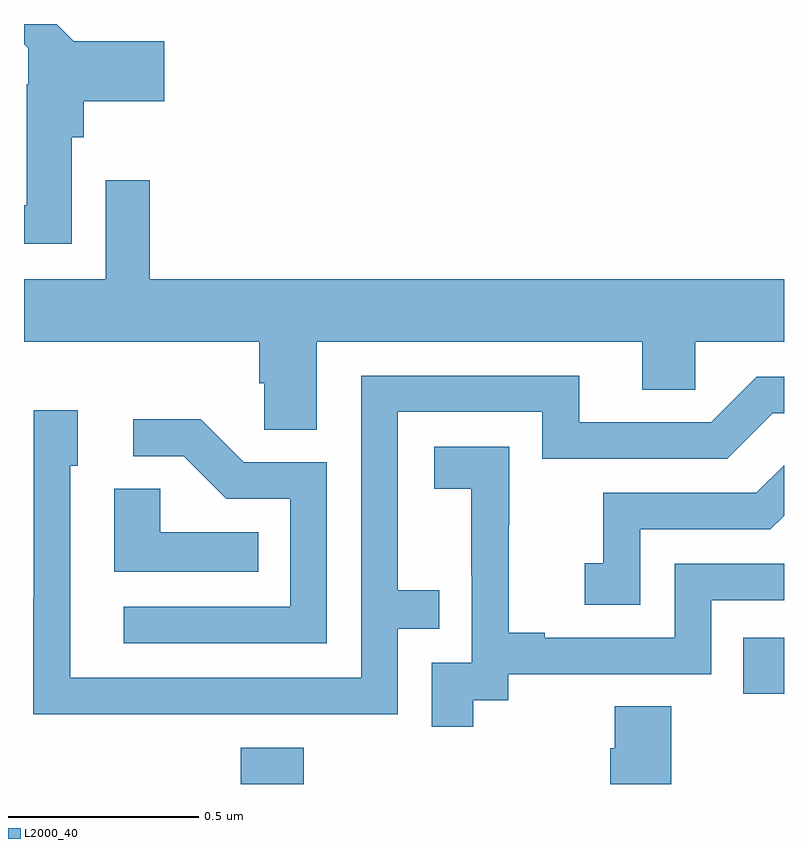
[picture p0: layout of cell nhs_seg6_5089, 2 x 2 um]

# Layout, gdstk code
import gdstk
lib = gdstk.Library(unit=1e-6, precision=1e-09)
def R(c, l, rs):  # rectangles x0, y0, x1, y1
    for r in rs: c.add(gdstk.rectangle(r[:2], r[2:], *l))
def P(c, l, *ps):  # polygons
    for p in ps: c.add(gdstk.Polygon(p, *l))
L2000_40 = (2000, 40)

nhs_seg6_5089 = lib.new_cell('nhs_seg6_5089')
R(nhs_seg6_5089, L2000_40, [(178.571,951.5,178.736,951.595), (179.893,951.738,180,951.885)])
P(nhs_seg6_5089, L2000_40, [(178.126,953.202),(178.157,953.202),(178.157,953.297),(178.369,953.297),(178.369,953.455),(178.131,953.455),(178.086,953.5),(178,953.5),(178,953.447),(178.011,953.436),(178.011,953.342),(178.007,953.342),(178.007,953.023),(178,953.023),(178,952.922),(178.126,952.922)],
  [(178.771,952.664),(179.627,952.664),(179.627,952.537),(179.766,952.537),(179.766,952.664),(180,952.664),(180,952.828),(178.331,952.828),(178.331,953.089),(178.215,953.089),(178.215,952.828),(178,952.828),(178,952.664),(178.619,952.664),(178.619,952.555),(178.632,952.555),(178.632,952.432),(178.771,952.432)],
  [(178.487,951.684),(178.983,951.684),(178.983,951.909),(179.093,951.909),(179.093,952.01),(178.983,952.01),(178.983,952.479),(179.364,952.479),(179.364,952.356),(179.85,952.356),(179.97,952.476),(180,952.476),(180,952.572),(179.928,952.572),(179.808,952.452),(179.461,952.452),(179.461,952.575),(178.887,952.575),(178.887,951.78),(178.122,951.78),(178.122,952.338),(178.141,952.338),(178.141,952.483),(178.026,952.483),(178.026,951.989),(178.024,951.989),(178.024,951.683),(178.487,951.683)],
  [(178.797,952.347),(178.578,952.347),(178.465,952.46),(178.287,952.46),(178.287,952.362),(178.421,952.362),(178.532,952.251),(178.701,952.251),(178.701,951.966),(178.263,951.966),(178.263,951.87),(178.797,951.87)],
  [(179.182,951.721),(179.274,951.721),(179.274,951.789),(179.808,951.789),(179.808,951.984),(180,951.984),(180,952.08),(179.712,952.08),(179.712,951.885),(179.371,951.885),(179.371,951.898),(179.276,951.898),(179.276,952.181),(179.277,952.181),(179.277,952.387),(179.079,952.387),(179.079,952.277),(179.177,952.277),(179.177,952.049),(179.178,952.049),(179.178,951.819),(179.073,951.819),(179.073,951.651),(179.182,951.651)],
  [(179.622,952.17),(179.964,952.17),(180,952.206),(180,952.339),(179.927,952.266),(179.524,952.266),(179.524,952.081),(179.475,952.081),(179.475,951.972),(179.622,951.972)],
  [(178.616,952.162),(178.359,952.162),(178.359,952.277),(178.238,952.277),(178.238,952.058),(178.616,952.058)],
  [(179.703,951.704),(179.555,951.704),(179.555,951.594),(179.543,951.594),(179.543,951.5),(179.703,951.5)])

lib.write_gds('nhs_seg6_5089.gds')
